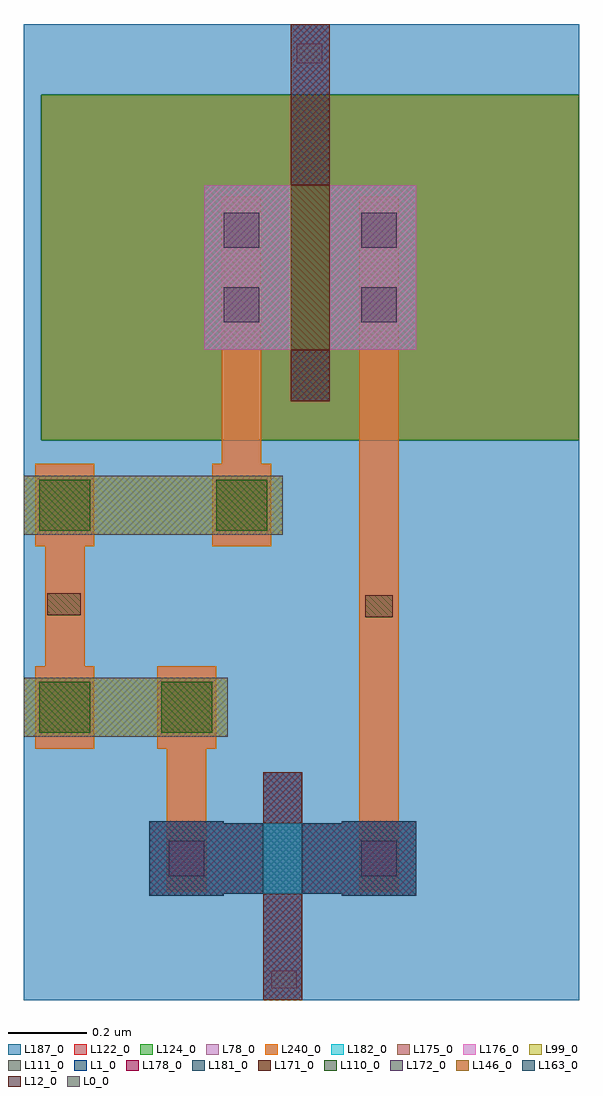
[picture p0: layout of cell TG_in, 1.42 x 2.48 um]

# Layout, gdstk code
import gdstk
lib = gdstk.Library(unit=1e-6, precision=1e-09)
def R(c, l, rs):  # rectangles x0, y0, x1, y1
    for r in rs: c.add(gdstk.rectangle(r[:2], r[2:], *l))
def P(c, l, *ps):  # polygons
    for p in ps: c.add(gdstk.Polygon(p, *l))
L0_0 = (0, 0)
L1_0 = (1, 0)
L12_0 = (12, 0)
L78_0 = (78, 0)
L99_0 = (99, 0)
L110_0 = (110, 0)
L111_0 = (111, 0)
L122_0 = (122, 0)
L124_0 = (124, 0)
L146_0 = (146, 0)
L163_0 = (163, 0)
L171_0 = (171, 0)
L172_0 = (172, 0)
L175_0 = (175, 0)
L176_0 = (176, 0)
L178_0 = (178, 0)
L181_0 = (181, 0)
L182_0 = (182, 0)
L187_0 = (187, 0)
L240_0 = (240, 0)

tg_in = lib.new_cell('TG_in')
R(tg_in, L0_0, [(6.84,4.25,6.905,4.295), (6.905,6.605,6.97,6.655)])
R(tg_in, L1_0, [(6.82,4.22,6.92,4.8), (6.89,5.745,6.99,6.705)])
R(tg_in, L12_0, [(7.08,5.195,7.15,5.25), (6.27,5.2,6.355,5.255)])
R(tg_in, L78_0, [(7.065,4.495,7.165,6.265)])
P(tg_in, L78_0, [(6.815,6.265),(6.815,5.585),(6.84,5.585),(6.84,5.375),(6.69,5.375),(6.69,5.585),(6.715,5.585),(6.715,6.265)],
  [(6.39,5.585),(6.39,5.375),(6.365,5.375),(6.365,5.07),(6.39,5.07),(6.39,4.86),(6.24,4.86),(6.24,5.07),(6.265,5.07),(6.265,5.375),(6.24,5.375),(6.24,5.585)],
  [(6.7,5.07),(6.7,4.86),(6.675,4.86),(6.675,4.495),(6.575,4.495),(6.575,4.86),(6.55,4.86),(6.55,5.07)])
R(tg_in, L99_0, [(6.21,4.89,6.73,5.04), (6.21,5.405,6.87,5.555)])
R(tg_in, L110_0, [(6.25,4.9,6.38,5.03), (6.56,4.9,6.69,5.03), (6.25,5.415,6.38,5.545), (6.7,5.415,6.83,5.545)])
R(tg_in, L111_0, [(6.21,4.89,6.73,5.04), (6.21,5.405,6.87,5.555)])
R(tg_in, L122_0, [(6.255,5.645,7.625,6.525)])
R(tg_in, L124_0, [(6.255,5.645,7.625,6.525)])
R(tg_in, L146_0, [(6.89,5.875,6.99,6.295)])
R(tg_in, L163_0, [(6.82,4.49,6.92,4.67)])
R(tg_in, L171_0, [(6.82,4.22,6.92,4.49), (6.82,4.67,6.92,4.8), (6.89,5.745,6.99,5.875), (6.89,6.295,6.99,6.705)])
R(tg_in, L172_0, [(6.58,4.535,6.67,4.625), (7.07,4.535,7.16,4.625), (6.72,5.945,6.81,6.035), (7.07,5.945,7.16,6.035), (6.72,6.135,6.81,6.225), (7.07,6.135,7.16,6.225)])
R(tg_in, L175_0, [(6.67,5.875,6.89,6.295), (6.99,5.875,7.21,6.295)])
R(tg_in, L176_0, [(6.67,5.875,6.89,6.295), (6.99,5.875,7.21,6.295)])
P(tg_in, L178_0, [(7.21,4.675),(7.21,4.485),(7.02,4.485),(7.02,4.49),(6.92,4.49),(6.92,4.67),(7.02,4.67),(7.02,4.675)],
  [(6.72,4.675),(6.72,4.67),(6.82,4.67),(6.82,4.49),(6.72,4.49),(6.72,4.485),(6.53,4.485),(6.53,4.675)])
P(tg_in, L181_0, [(7.21,4.675),(7.21,4.485),(7.02,4.485),(7.02,4.49),(6.92,4.49),(6.92,4.67),(7.02,4.67),(7.02,4.675)],
  [(6.72,4.675),(6.72,4.67),(6.82,4.67),(6.82,4.49),(6.72,4.49),(6.72,4.485),(6.53,4.485),(6.53,4.675)])
R(tg_in, L182_0, [(6.67,5.875,6.89,6.295), (6.99,5.875,7.21,6.295)])
P(tg_in, L182_0, [(7.21,4.675),(7.21,4.485),(7.02,4.485),(7.02,4.49),(6.92,4.49),(6.92,4.67),(7.02,4.67),(7.02,4.675)],
  [(6.72,4.675),(6.72,4.67),(6.82,4.67),(6.82,4.49),(6.72,4.49),(6.72,4.485),(6.53,4.485),(6.53,4.675)])
P(tg_in, L187_0, [(7.625,6.705),(7.625,6.525),(6.255,6.525),(6.255,5.645),(7.625,5.645),(7.625,4.22),(6.21,4.22),(6.21,6.705)])
R(tg_in, L240_0, [(7.065,4.495,7.165,6.265)])
P(tg_in, L240_0, [(6.815,6.265),(6.815,5.585),(6.84,5.585),(6.84,5.375),(6.69,5.375),(6.69,5.585),(6.715,5.585),(6.715,6.265)],
  [(6.39,5.585),(6.39,5.375),(6.365,5.375),(6.365,5.07),(6.39,5.07),(6.39,4.86),(6.24,4.86),(6.24,5.07),(6.265,5.07),(6.265,5.375),(6.24,5.375),(6.24,5.585)],
  [(6.7,5.07),(6.7,4.86),(6.675,4.86),(6.675,4.495),(6.575,4.495),(6.575,4.86),(6.55,4.86),(6.55,5.07)])

lib.write_gds('TG_in.gds')
